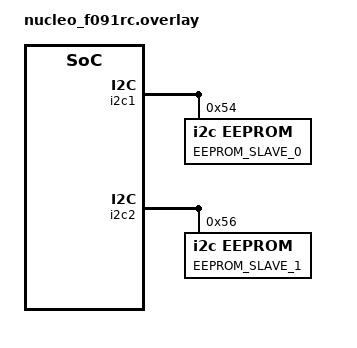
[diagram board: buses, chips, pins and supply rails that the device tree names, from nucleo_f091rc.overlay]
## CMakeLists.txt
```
# SPDX-License-Identifier: Apache-2.0

cmake_minimum_required(VERSION 3.20.0)

find_package(Zephyr REQUIRED HINTS $ENV{ZEPHYR_BASE})
project(i2c_slave_api)

add_subdirectory(common)

FILE(GLOB app_sources src/*.c)

target_sources(app PRIVATE ${app_sources})
```

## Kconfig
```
# SPDX-License-Identifier: Apache-2.0

mainmenu "I2C Slave API Test"

source "Kconfig.zephyr"

source "tests/drivers/i2c/i2c_slave_api/common/Kconfig"
```

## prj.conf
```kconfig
CONFIG_LOG=y
CONFIG_I2C_LOG_LEVEL_INF=y
CONFIG_BOOT_BANNER=y
CONFIG_ZTEST=y
CONFIG_I2C=y
CONFIG_I2C_SLAVE=y
CONFIG_I2C_EEPROM_SLAVE=y
CONFIG_I2C_VIRTUAL=y
```

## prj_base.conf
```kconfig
CONFIG_LOG=y
CONFIG_I2C_LOG_LEVEL_DBG=y
CONFIG_BOOT_BANNER=y
CONFIG_ZTEST=y
CONFIG_I2C=y
CONFIG_I2C_SLAVE=y
CONFIG_I2C_EEPROM_SLAVE=y
CONFIG_I2C_EEPROM_SLAVE_0=y
CONFIG_I2C_EEPROM_SLAVE_1=y
```

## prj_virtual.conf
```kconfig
CONFIG_LOG=y
CONFIG_I2C_LOG_LEVEL_DBG=y
CONFIG_BOOT_BANNER=y
CONFIG_ZTEST=y
CONFIG_I2C=y
CONFIG_I2C_SLAVE=y
CONFIG_I2C_EEPROM_SLAVE=y
CONFIG_I2C_EEPROM_SLAVE_0=y
CONFIG_I2C_EEPROM_SLAVE_1=y
CONFIG_I2C_VIRTUAL=y
```

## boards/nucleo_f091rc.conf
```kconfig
CONFIG_I2C_STM32_V2=y
CONFIG_I2C_STM32_INTERRUPT=y
CONFIG_I2C_1=y
CONFIG_I2C_2=y
```

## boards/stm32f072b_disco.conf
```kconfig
CONFIG_I2C_STM32_INTERRUPT=y
CONFIG_I2C_1=y
CONFIG_I2C_2=y
CONFIG_I2C_VIRTUAL=n
```

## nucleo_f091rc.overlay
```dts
/ {
	aliases {
		eeprom-slave-0 = &ep_0;
		eeprom-slave-1 = &ep_1;
	};
};

&i2c1 {
	ep_0: eeprom@54 {
		compatible = "i2c,eeprom";
		reg = <0x54>;
		label = "EEPROM_SLAVE_0";
		size = <1>;
		zephyr,index = <0>;
	};
};


&i2c2 {
	ep_1: eeprom@56 {
		compatible = "i2c,eeprom";
		reg = <0x56>;
		label = "EEPROM_SLAVE_1";
		size = <1>;
		zephyr,index = <1>;
	};
};
```

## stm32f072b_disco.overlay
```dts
/ {
	aliases {
		eeprom-slave-0 = &ep_0;
		eeprom-slave-1 = &ep_1;
	};
};

&i2c1 {
	ep_0: eeprom@54 {
		compatible = "atmel,at24";
		reg = <0x54>;
		label = "EEPROM_SLAVE_0";
		size = <1>;
	};
};


&i2c2 {
	ep_1: eeprom@56 {
		compatible = "atmel,at24";
		reg = <0x56>;
		label = "EEPROM_SLAVE_1";
		size = <1>;
	};
};
```

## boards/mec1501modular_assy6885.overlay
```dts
/*
 * Copyright (c) 2020 Intel Corporation
 *
 * SPDX-License-Identifier: Apache-2.0
 */

&i2c_smb_0 {
	eeprom0: eeprom@54 {
		compatible = "atmel,at24";
		reg = <0x54>;
		label = "EEPROM_0";
		size = <1024>;
		pagesize = <16>;
		address-width = <8>;
		timeout = <5>;
	};
};


&i2c_smb_1 {
	eeprom1: eeprom@56 {
		compatible = "atmel,at24";
		reg = <0x56>;
		label = "EEPROM_1";
		size = <1024>;
		pagesize = <16>;
		address-width = <8>;
		timeout = <5>;
	};
};
```

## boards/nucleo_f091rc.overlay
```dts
/* SPDX-License-Identifier: Apache-2.0 */

&i2c1 {
	eeprom@54 {
		compatible = "atmel,at24";
		reg = <0x54>;
		label = "EEPROM_SLAVE_0";
		size = <1024>;
		pagesize = <16>;
		address-width = <8>;
		timeout = <5>;
	};
};


&i2c2 {
	eeprom@56 {
		compatible = "atmel,at24";
		reg = <0x56>;
		label = "EEPROM_SLAVE_1";
		size = <1024>;
		pagesize = <16>;
		address-width = <8>;
		timeout = <5>;
	};
};
```

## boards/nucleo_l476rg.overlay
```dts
/*
 * Copyright (c) 2020 Nordic Semiconductor ASA
 * SPDX-License-Identifier: Apache-2.0
 */

/* I2C bus pins are exposed in the Arduino Uno header.
 *
 *  Bus        SDA          SCL
 *          Pin   Hdr    Pin   Hdr
 *  i2c1    PB9   D14    PB8   D15
 *  i2c3    PC1   A4     PC0   A5
 *
 * Short D14 to A4, and D15 to A5, for the test to pass.
 */

&i2c1 {
	eeprom0: eeprom@54 {
		compatible = "atmel,at24";
		reg = <0x54>;
		label = "EEPROM_0";
		size = <1024>;
		pagesize = <16>;
		address-width = <8>;
		timeout = <5>;
	};
};

&i2c3 {
	eeprom1: eeprom@56 {
		compatible = "atmel,at24";
		reg = <0x56>;
		label = "EEPROM_1";
		size = <1024>;
		pagesize = <16>;
		address-width = <8>;
		timeout = <5>;
	};
};
```

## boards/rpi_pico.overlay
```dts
/*
 * Copyright (c) 2022 Andrei-Edward Popa
 *
 * SPDX-License-Identifier: Apache-2.0
 */

&i2c0 {
	eeprom0: eeprom@54 {
		compatible = "atmel,at24";
		reg = <0x54>;
		label = "EEPROM_0";
		size = <1024>;
		pagesize = <16>;
		address-width = <8>;
		timeout = <5>;
	};
};

&i2c1 {
	eeprom1: eeprom@56 {
		compatible = "atmel,at24";
		reg = <0x56>;
		label = "EEPROM_1";
		size = <1024>;
		pagesize = <16>;
		address-width = <8>;
		timeout = <5>;
	};
};
```

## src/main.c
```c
/*
 * Copyright (c) 2017 BayLibre, SAS
 * Copyright (c) 2020 Nordic Semiconductor ASA
 *
 * SPDX-License-Identifier: Apache-2.0
 */

#include <errno.h>
#include <string.h>

#include <zephyr/zephyr.h>
#include <zephyr/device.h>
#include <stdio.h>
#include <zephyr/sys/util.h>

#include <zephyr/drivers/i2c.h>
#include <zephyr/drivers/i2c/slave/eeprom.h>

#include <ztest.h>

#define NODE_EP0 DT_NODELABEL(eeprom0)
#define NODE_EP1 DT_NODELABEL(eeprom1)

#define TEST_DATA_SIZE	20
static const uint8_t eeprom_0_data[TEST_DATA_SIZE] = "0123456789abcdefghij";
static const uint8_t eeprom_1_data[TEST_DATA_SIZE] = "jihgfedcba9876543210";
static uint8_t i2c_buffer[TEST_DATA_SIZE];

/*
 * We need 5x(buffer size) + 1 to print a comma-separated list of each
 * byte in hex, plus a null.
 */
uint8_t buffer_print_eeprom[TEST_DATA_SIZE * 5 + 1];
uint8_t buffer_print_i2c[TEST_DATA_SIZE * 5 + 1];

static void to_display_format(const uint8_t *src, size_t size, char *dst)
{
	size_t i;

	for (i = 0; i < size; i++) {
		sprintf(dst + 5 * i, "0x%02x,", src[i]);
	}
}

static int run_full_read(const struct device *i2c, uint8_t addr,
			 const uint8_t *comp_buffer)
{
	int ret;

	TC_PRINT("Testing full read: Master: %s, address: 0x%x\n",
		 i2c->name, addr);

	/* Read EEPROM from I2C Master requests, then compare */
	ret = i2c_burst_read(i2c, addr, 0, i2c_buffer, TEST_DATA_SIZE);
	zassert_equal(ret, 0, "Failed to read EEPROM");

	if (memcmp(i2c_buffer, comp_buffer, TEST_DATA_SIZE)) {
		to_display_format(i2c_buffer, TEST_DATA_SIZE,
				  buffer_print_i2c);
		to_display_format(comp_buffer, TEST_DATA_SIZE,
				  buffer_print_eeprom);
		TC_PRINT("Error: Buffer contents are different: %s\n",
			 buffer_print_i2c);
		TC_PRINT("                         vs expected: %s\n",
			 buffer_print_eeprom);
		return -EIO;
	}

	return 0;
}

static int run_partial_read(const struct device *i2c, uint8_t addr,
			    const uint8_t *comp_buffer, unsigned int offset)
{
	int ret;

	TC_PRINT("Testing partial read. Master: %s, address: 0x%x, off=%d\n",
		 i2c->name, addr, offset);

	ret = i2c_burst_read(i2c, addr,
			     offset, i2c_buffer, TEST_DATA_SIZE-offset);
	zassert_equal(ret, 0, "Failed to read EEPROM");

	if (memcmp(i2c_buffer, &comp_buffer[offset], TEST_DATA_SIZE-offset)) {
		to_display_format(i2c_buffer, TEST_DATA_SIZE-offset,
				  buffer_print_i2c);
		to_display_format(&comp_buffer[offset], TEST_DATA_SIZE-offset,
				  buffer_print_eeprom);
		TC_PRINT("Error: Buffer contents are different: %s\n",
			 buffer_print_i2c);
		TC_PRINT("                         vs expected: %s\n",
			 buffer_print_eeprom);
		return -EIO;
	}

	return 0;
}

static int run_program_read(const struct device *i2c, uint8_t addr,
			    unsigned int offset)
{
	int ret, i;

	TC_PRINT("Testing program. Master: %s, address: 0x%x, off=%d\n",
		i2c->name, addr, offset);

	for (i = 0 ; i < TEST_DATA_SIZE-offset ; ++i) {
		i2c_buffer[i] = i;
	}

	ret = i2c_burst_write(i2c, addr,
			      offset, i2c_buffer, TEST_DATA_SIZE-offset);
	zassert_equal(ret, 0, "Failed to write EEPROM");

	(void)memset(i2c_buffer, 0xFF, TEST_DATA_SIZE);

	/* Read back EEPROM from I2C Master requests, then compare */
	ret = i2c_burst_read(i2c, addr,
			     offset, i2c_buffer, TEST_DATA_SIZE-offset);
	zassert_equal(ret, 0, "Failed to read EEPROM");

	for (i = 0 ; i < TEST_DATA_SIZE-offset ; ++i) {
		if (i2c_buffer[i] != i) {
			to_display_format(i2c_buffer, TEST_DATA_SIZE-offset,
					  buffer_print_i2c);
			TC_PRINT("Error: Unexpected buffer content: %s\n",
				 buffer_print_i2c);
			return -EIO;
		}
	}

	return 0;
}

void test_eeprom_slave(void)
{
	const char *label_0 = DT_LABEL(NODE_EP0);
	const struct device *eeprom_0 = device_get_binding(label_0);
	const struct device *i2c_0 = device_get_binding(DT_BUS_LABEL(NODE_EP0));
	int addr_0 = DT_REG_ADDR(NODE_EP0);
	const char *label_1 = DT_LABEL(NODE_EP1);
	const struct device *eeprom_1 = device_get_binding(label_1);
	const struct device *i2c_1 = device_get_binding(DT_BUS_LABEL(NODE_EP1));
	int addr_1 = DT_REG_ADDR(NODE_EP1);
	int ret, offset;

	zassert_not_null(i2c_0, "EP0 I2C device %s not found",
			 DT_BUS_LABEL(NODE_EP0));
	zassert_not_null(eeprom_0, "EEPROM device %s not found", label_0);

	TC_PRINT("Found EP0 %s on I2C Master device %s at addr %02x\n",
		 label_0, DT_BUS_LABEL(NODE_EP0), addr_0);

	zassert_not_null(i2c_1, "I2C device %s not found",
			 DT_BUS_LABEL(NODE_EP1));
	zassert_not_null(eeprom_1, "EEPROM device %s not found", label_1);

	TC_PRINT("Found EP1 %s on I2C Master device %s at addr %02x\n",
		 label_1, DT_BUS_LABEL(NODE_EP1), addr_1);

	if (IS_ENABLED(CONFIG_APP_DUAL_ROLE_I2C)) {
		TC_PRINT("Testing dual-role\n");
	} else {
		TC_PRINT("Testing single-role\n");
	}

	/* Program differentiable data into the two devices through a back door
	 * that doesn't use I2C.
	 */
	ret = eeprom_slave_program(eeprom_0, eeprom_0_data, TEST_DATA_SIZE);
	zassert_equal(ret, 0, "Failed to program EEPROM %s", label_0);
	if (IS_ENABLED(CONFIG_APP_DUAL_ROLE_I2C)) {
		ret = eeprom_slave_program(eeprom_1, eeprom_1_data,
					   TEST_DATA_SIZE);
		zassert_equal(ret, 0, "Failed to program EEPROM %s", label_1);
	}

	/* Attach each EEPROM to its owning bus as a slave device. */
	ret = i2c_slave_driver_register(eeprom_0);
	zassert_equal(ret, 0, "Failed to register EEPROM %s", label_0);

	if (IS_ENABLED(CONFIG_APP_DUAL_ROLE_I2C)) {
		ret = i2c_slave_driver_register(eeprom_1);
		zassert_equal(ret, 0, "Failed to register EEPROM %s", label_1);
	}

	/* The simulated EP0 is configured to be accessed as a slave device
	 * at addr_0 on i2c_0 and should expose eeprom_0_data.  The validation
	 * uses i2c_1 as a bus master to access this device, which works because
	 * i2c_0 and i2_c have their SDA (SCL) pins shorted (they are on the
	 * same physical bus).  Thus in these calls i2c_1 is a master device
	 * operating on the slave address addr_0.
	 *
	 * Similarly validation of EP1 uses i2c_0 as a master with addr_1 and
	 * eeprom_1_data for validation.
	 */
	ret = run_full_read(i2c_1, addr_0, eeprom_0_data);
	zassert_equal(ret, 0,
		     "Full I2C read from EP0 failed");
	if (IS_ENABLED(CONFIG_APP_DUAL_ROLE_I2C)) {
		ret = run_full_read(i2c_0, addr_1, eeprom_1_data);
		zassert_equal(ret, 0,
			      "Full I2C read from EP1 failed");
	}

	for (offset = 0 ; offset < TEST_DATA_SIZE-1 ; ++offset) {
		zassert_equal(0, run_partial_read(i2c_1, addr_0,
			      eeprom_0_data, offset),
			      "Partial I2C read EP0 failed");
		if (IS_ENABLED(CONFIG_APP_DUAL_ROLE_I2C)) {
			zassert_equal(0, run_partial_read(i2c_0, addr_1,
							  eeprom_1_data,
							  offset),
				      "Partial I2C read EP1 failed");
		}
	}

	for (offset = 0 ; offset < TEST_DATA_SIZE-1 ; ++offset) {
		zassert_equal(0, run_program_read(i2c_1, addr_0, offset),
			      "Program I2C read EP0 failed");
		if (IS_ENABLED(CONFIG_APP_DUAL_ROLE_I2C)) {
			zassert_equal(0, run_program_read(i2c_0, addr_1,
							  offset),
				      "Program I2C read EP1 failed");
		}
	}

	/* Detach EEPROM */
	ret = i2c_slave_driver_unregister(eeprom_0);
	zassert_equal(ret, 0, "Failed to unregister EEPROM %s", label_0);

	if (IS_ENABLED(CONFIG_APP_DUAL_ROLE_I2C)) {
		ret = i2c_slave_driver_unregister(eeprom_1);
		zassert_equal(ret, 0, "Failed to unregister EEPROM %s",
			      label_1);
	}
}

void test_main(void)
{
	ztest_test_suite(test_eeprom_slave, ztest_unit_test(test_eeprom_slave));
	ztest_run_test_suite(test_eeprom_slave);
}
```

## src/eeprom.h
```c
/**
 * @file
 *
 * @brief Public APIs for the I2C EEPROM Slave driver.
 */

/*
 * Copyright (c) 2017 BayLibre, SAS
 *
 * SPDX-License-Identifier: Apache-2.0
 */
#ifndef ZEPHYR_INCLUDE_DRIVERS_I2C_SLAVE_EEPROM_H_
#define ZEPHYR_INCLUDE_DRIVERS_I2C_SLAVE_EEPROM_H_

/**
 * @brief I2C EEPROM Slave Driver API
 * @defgroup i2c_eeprom_slave_api I2C EEPROM Slave Driver API
 * @ingroup io_interfaces
 * @{
 */

/**
 * @brief Program memory of the virtual EEPROM
 *
 * @param dev Pointer to the device structure for the driver instance.
 * @param eeprom_data Pointer of data to program into the virtual eeprom memory
 * @param length Length of data to program into the virtual eeprom memory
 *
 * @retval 0 If successful.
 * @retval -EINVAL Invalid data size
 */
int eeprom_slave_program(struct device *dev, const uint8_t *eeprom_data,
			 unsigned int length);

/**
 * @brief Read single byte of virtual EEPROM memory
 *
 * @param dev Pointer to the device structure for the driver instance.
 * @param eeprom_data Pointer of byte where to store the virtual eeprom memory
 * @param offset Offset into EEPROM memory where to read the byte
 *
 * @retval 0 If successful.
 * @retval -EINVAL Invalid data pointer or offset
 */
int eeprom_slave_read(struct device *dev, uint8_t *eeprom_data,
		      unsigned int offset);

/**
 * @}
 */

#endif /* ZEPHYR_INCLUDE_DRIVERS_I2C_SLAVE_EEPROM_H_ */
```

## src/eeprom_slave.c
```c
/*
 * Copyright (c) 2017 BayLibre, SAS
 *
 * SPDX-License-Identifier: Apache-2.0
 */

#define DT_DRV_COMPAT atmel_at24

#include <sys/util.h>
#include <kernel.h>
#include <errno.h>
#include <drivers/i2c.h>
#include <string.h>
#include "eeprom.h"

#define LOG_LEVEL CONFIG_I2C_LOG_LEVEL
#include <logging/log.h>
LOG_MODULE_REGISTER(eeprom_slave);

struct i2c_eeprom_slave_data {
	const struct device *i2c_controller;
	struct i2c_slave_config config;
	uint32_t buffer_size;
	uint8_t *buffer;
	uint32_t buffer_idx;
	bool first_write;
};

struct i2c_eeprom_slave_config {
	char *controller_dev_name;
	uint8_t address;
	uint32_t buffer_size;
	uint8_t *buffer;
};

/* convenience defines */
#define DEV_CFG(dev)							\
	((const struct i2c_eeprom_slave_config * const)			\
		(dev)->config)
#define DEV_DATA(dev)							\
	((struct i2c_eeprom_slave_data * const)(dev)->data)

int eeprom_slave_program(const struct device *dev, const uint8_t *eeprom_data,
			 unsigned int length)
{
	struct i2c_eeprom_slave_data *data = dev->data;

	if (length > data->buffer_size) {
		return -EINVAL;
	}

	memcpy(data->buffer, eeprom_data, length);

	return 0;
}

int eeprom_slave_read(const struct device *dev, uint8_t *eeprom_data,
		      unsigned int offset)
{
	struct i2c_eeprom_slave_data *data = dev->data;

	if (!data || offset >= data->buffer_size) {
		return -EINVAL;
	}

	*eeprom_data = data->buffer[offset];

	return 0;
}

static int eeprom_slave_write_requested(struct i2c_slave_config *config)
{
	struct i2c_eeprom_slave_data *data = CONTAINER_OF(config,
						struct i2c_eeprom_slave_data,
						config);

	LOG_DBG("eeprom: write req");

	data->first_write = true;

	return 0;
}

static int eeprom_slave_read_requested(struct i2c_slave_config *config,
				       uint8_t *val)
{
	struct i2c_eeprom_slave_data *data = CONTAINER_OF(config,
						struct i2c_eeprom_slave_data,
						config);

	*val = data->buffer[data->buffer_idx];

	LOG_DBG("eeprom: read req, val=0x%x", *val);

	/* Increment will be done in the read_processed callback */

	return 0;
}

static int eeprom_slave_write_received(struct i2c_slave_config *config,
				       uint8_t val)
{
	struct i2c_eeprom_slave_data *data = CONTAINER_OF(config,
						struct i2c_eeprom_slave_data,
						config);

	LOG_DBG("eeprom: write done, val=0x%x", val);

	/* In case EEPROM wants to be R/O, return !0 here could trigger
	 * a NACK to the I2C controller, support depends on the
	 * I2C controller support
	 */

	if (data->first_write) {
		data->buffer_idx = val;
		data->first_write = false;
	} else {
		data->buffer[data->buffer_idx++] = val;
	}

	data->buffer_idx = data->buffer_idx % data->buffer_size;

	return 0;
}

static int eeprom_slave_read_processed(struct i2c_slave_config *config,
				       uint8_t *val)
{
	struct i2c_eeprom_slave_data *data = CONTAINER_OF(config,
						struct i2c_eeprom_slave_data,
						config);

	/* Increment here */
	data->buffer_idx = (data->buffer_idx + 1) % data->buffer_size;

	*val = data->buffer[data->buffer_idx];

	LOG_DBG("eeprom: read done, val=0x%x", *val);

	/* Increment will be done in the next read_processed callback
	 * In case of STOP, the byte won't be taken in account
	 */

	return 0;
}

static int eeprom_slave_stop(struct i2c_slave_config *config)
{
	struct i2c_eeprom_slave_data *data = CONTAINER_OF(config,
						struct i2c_eeprom_slave_data,
						config);

	LOG_DBG("eeprom: stop");

	data->first_write = true;

	return 0;
}

static int eeprom_slave_register(const struct device *dev)
{
	struct i2c_eeprom_slave_data *data = dev->data;

	return i2c_slave_register(data->i2c_controller, &data->config);
}

static int eeprom_slave_unregister(const struct device *dev)
{
	struct i2c_eeprom_slave_data *data = dev->data;

	return i2c_slave_unregister(data->i2c_controller, &data->config);
}

static const struct i2c_slave_driver_api api_funcs = {
	.driver_register = eeprom_slave_register,
	.driver_unregister = eeprom_slave_unregister,
};

static const struct i2c_slave_callbacks eeprom_callbacks = {
	.write_requested = eeprom_slave_write_requested,
	.read_requested = eeprom_slave_read_requested,
	.write_received = eeprom_slave_write_received,
	.read_processed = eeprom_slave_read_processed,
	.stop = eeprom_slave_stop,
};

static int i2c_eeprom_slave_init(const struct device *dev)
{
	struct i2c_eeprom_slave_data *data = DEV_DATA(dev);
	const struct i2c_eeprom_slave_config *cfg = DEV_CFG(dev);

	data->i2c_controller =
		device_get_binding(cfg->controller_dev_name);
	if (!data->i2c_controller) {
		LOG_ERR("i2c controller not found: %s",
			    cfg->controller_dev_name);
		return -EINVAL;
	}

	data->buffer_size = cfg->buffer_size;
	data->buffer = cfg->buffer;
	data->config.address = cfg->address;
	data->config.callbacks = &eeprom_callbacks;

	return 0;
}

#define I2C_EEPROM_INIT(inst)						\
	static struct i2c_eeprom_slave_data				\
		i2c_eeprom_slave_##inst##_dev_data;			\
									\
	static uint8_t							\
	i2c_eeprom_slave_##inst##_buffer[(DT_INST_PROP(inst, size))];	\
									\
	static const struct i2c_eeprom_slave_config			\
		i2c_eeprom_slave_##inst##_cfg = {			\
		.controller_dev_name = DT_INST_BUS_LABEL(inst),		\
		.address = DT_INST_REG_ADDR(inst),			\
		.buffer_size = DT_INST_PROP(inst, size),		\
		.buffer = i2c_eeprom_slave_##inst##_buffer		\
	};								\
									\
	DEVICE_AND_API_INIT(i2c_eeprom_slave_##inst,			\
			    DT_INST_LABEL(inst),			\
			    &i2c_eeprom_slave_init,			\
			    &i2c_eeprom_slave_##inst##_dev_data,	\
			    &i2c_eeprom_slave_##inst##_cfg,		\
			    APPLICATION,				\
			    0,						\
			    &api_funcs);

DT_INST_FOREACH_STATUS_OKAY(I2C_EEPROM_INIT)
```
